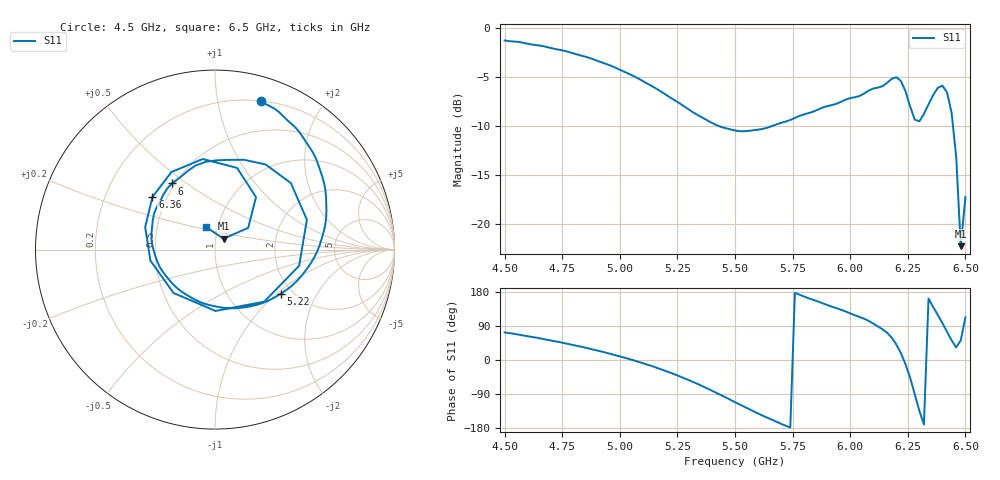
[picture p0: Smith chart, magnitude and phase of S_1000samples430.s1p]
! TOUCHSTONE file generated by CST MICROWAVE STUDIO
! Date and time: Fri Oct 28 03:48:46 2022
! Project name: L.cst
! Parameters = {Di=1.27; Epsilon_r=1.56; InnerDiameter=1.27; Length=2; Lf=10; Lg=60; OuterConductorThickness=0.2921; OuterDiameter=3.6; Wf=3; Wp=41.2; de=1.5; df=6.8; g=0.8; gx=2.46825; gy=2.33215; h=2.34; hf=1.524; px=12.5381; py=13.1756; w=9.7; wx=10.0698; wy=10.8435}
! Header version: 2018
! Port assignment regex: !\s*Touchstone port\s*([0-9]+)\s*=\s*(CST MWS port|CST DS port)\s*([0-9]+|Zmin|Zmax)\s*\(\"(.*)\"\)(\s*mode\s*([0-9]+))?.*
! Touchstone port assignment:
! Touchstone port 1 = CST MWS port 1 ("")
# GHz S DB R 50
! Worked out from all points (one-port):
!   101 points, 4.5 GHz to 6.5 GHz, reference 50 ohm
!   lowest |S11| = -22.3 dB at 6.48 GHz (marker M1), VSWR 1.17, Z = 54.6 + j6.65 ohm
!   |S11| at or under -10 dB: 5.431 GHz to 5.659 GHz (228.4 MHz wide, 4.12 % of centre); 6.446 GHz to end of sweep
!   S11 on the Smith chart (normalised r, x): 4.5 GHz: 0.20, +1.34; 5.22 GHz: 1.75, -1.07; 6 GHz: 0.48, +0.44; 6.36 GHz: 0.42, +0.31; 6.5 GHz: 0.87, +0.23
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4.5  -1.24 72.8
4.76  -2.30 44.4
4.88  -3.13 28.2
5  -4.23 9.5
5.22  -7.09 -33.7
5.26  -7.68 -43.2
5.38  -9.41 -75.3
5.5  -10.44 -111.3
5.76  -9.16 177.2
5.88  -8.11 149.8
6  -7.13 123.0
6.1  -6.16 96.0
6.14  -5.92 81.1
6.18  -5.16 59.2
6.2  -5.00 41.3
6.22  -5.38 18.0
6.24  -6.42 -10.9
6.26  -7.98 -46.6
6.28  -9.32 -89.5
6.3  -9.51 -133.7
6.32  -8.75 -170.3
6.36  -6.84 140.0
6.4  -5.86 97.7
6.42  -6.53 74.9
6.44  -8.61 52.0
6.46  -13.11 33.2
6.48  -22.27 51.8
6.5  -17.25 112.2
